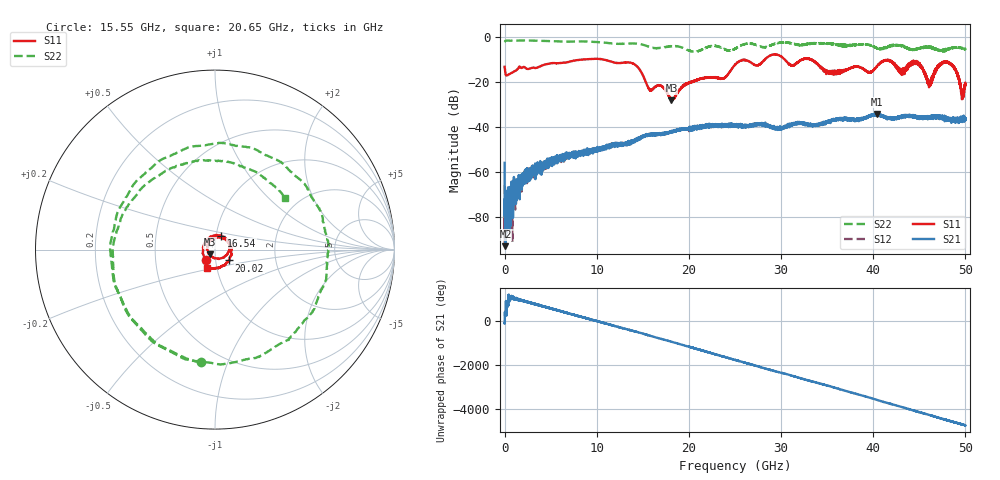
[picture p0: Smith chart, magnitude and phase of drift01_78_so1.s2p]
!Created with skrf (http://scikit-rf.org).
# Hz S RI R 50.0
!freq ReS11 ImS11 ReS21 ImS21 ReS12 ImS12 ReS22 ImS22
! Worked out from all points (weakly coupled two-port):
!   10001 points, 300 kHz to 50 GHz, reference 50 ohm
!   highest |S21| = -34.00 dB at 40.41 GHz (marker M1); lowest = -92.9 dB at 95.3 MHz (marker M2)
!   lowest |S11| = -27.9 dB at 18.11 GHz (marker M3), VSWR 1.08, Z = 47 - j2.47 ohm
!   |S11| at or under -10 dB: start of sweep to 8.048 GHz; 10.91 GHz to 25.86 GHz (14.95 GHz wide, 81.3 % of centre); 41.69 GHz to end of sweep (the widest 3 of 18)
!   |S22| runs from -6.4 to -1.4 dB; largest |S21 - S12| = 0.0037
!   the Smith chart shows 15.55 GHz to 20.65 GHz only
!   S11 on the Smith chart (normalised r, x): 15.55 GHz: 0.90, -0.11; 16.54 GHz: 1.05, +0.17; 20.02 GHz: 1.16, -0.14; 20.65 GHz: 0.90, -0.18
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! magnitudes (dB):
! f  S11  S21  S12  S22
! 300 kHz  -13.1  -55.8  -65.9  -2.1
! 95.3 MHz  -16.2  -92.9  -88.9  -1.5
! 260.3 MHz  -16.9  -70.2  -71.9  -1.4
! 2.485 GHz  -14.0  -64.2  -59.6  -1.4
! 8.335 GHz  -9.9  -52.0  -51.9  -1.8
! 13.86 GHz  -11.5  -46.5  -46.4  -2.7
! 15.55 GHz  -22.0  -43.3  -43.4  -4.0
! 16.54 GHz  -21.4  -43.1  -43.0  -4.8
! 16.67 GHz  -21.3  -42.9  -43.0  -4.8
! 18.11 GHz  -27.9  -41.6  -41.8  -4.0
! 20.02 GHz  -20.1  -40.8  -41.1  -5.8
! 20.65 GHz  -19.2  -39.3  -40.4  -6.3
! 25 GHz  -12.2  -39.0  -39.0  -5.0
! 33.34 GHz  -10.0  -39.0  -38.7  -2.7
! 35.31 GHz  -15.0  -36.8  -37.4  -2.8
! 40.41 GHz  -12.9  -34.0  -34.4  -4.9
! 41.67 GHz  -10.1  -35.7  -35.7  -4.0
! 43.03 GHz  -14.9  -34.7  -35.3  -3.7
! 44.81 GHz  -11.4  -35.5  -35.3  -5.0
! 46.12 GHz  -20.5  -35.5  -35.3  -4.3
! 48.04 GHz  -11.3  -36.1  -36.7  -5.0
! 50 GHz  -21.1  -36.0  -36.5  -5.2
